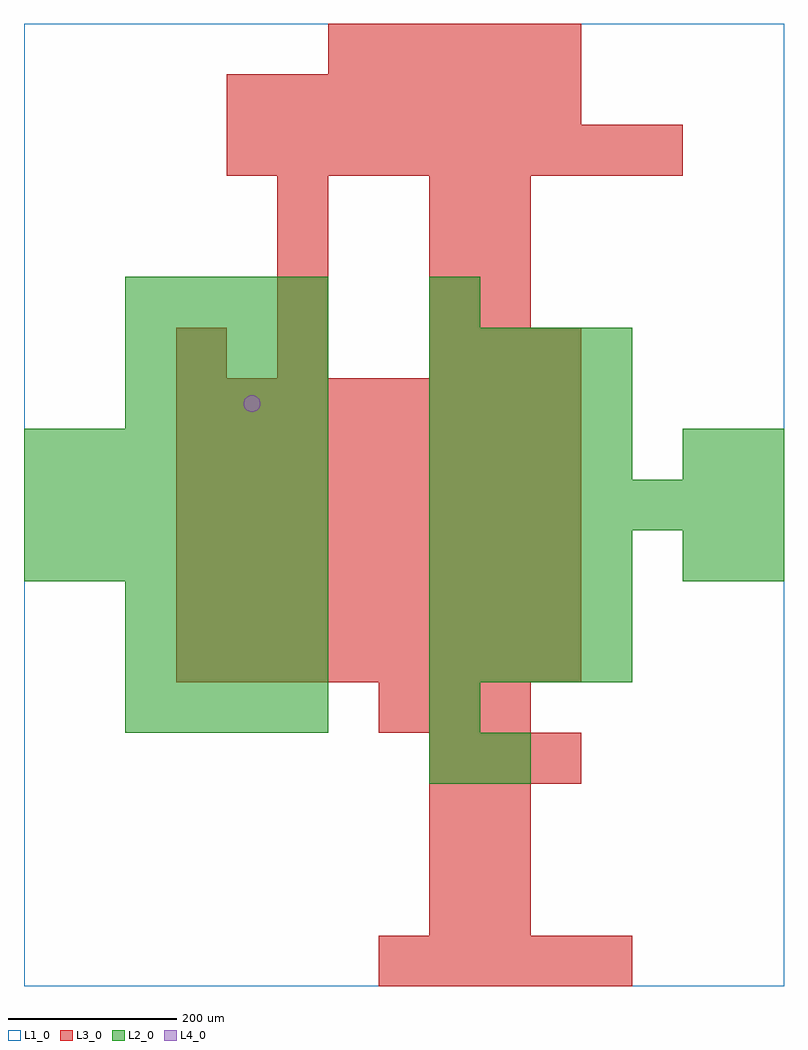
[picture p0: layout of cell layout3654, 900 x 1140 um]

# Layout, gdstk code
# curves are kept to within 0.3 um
import gdstk
lib = gdstk.Library(unit=1e-6, precision=1e-09)
def R(c, l, rs):  # rectangles x0, y0, x1, y1
    for r in rs: c.add(gdstk.rectangle(r[:2], r[2:], *l))
def A(c, l, x, y, w, h, nx, ny, dx, dy):  # array of equal rectangles
    R(c, l, [(x+i*dx, y+j*dy, x+i*dx+w, y+j*dy+h) for i in range(nx) for j in range(ny)])
def P(c, l, *ps):  # polygons
    for p in ps: c.add(gdstk.Polygon(p, *l))
L1_0 = (1, 0)
L2_0 = (2, 0)
L3_0 = (3, 0)
L4_0 = (4, 0)

layout3654 = lib.new_cell('layout3654')
R(layout3654, L1_0, [(0,0,900,1140)])
A(layout3654, L2_0, 120, 300, 60, 60, 4, 3, 60, 60)
A(layout3654, L2_0, 480, 360, 60, 60, 4, 3, 60, 60)
A(layout3654, L2_0, 0, 480, 60, 60, 6, 3, 60, 60)
A(layout3654, L2_0, 480, 540, 60, 60, 7, 1, 60, 0)
A(layout3654, L2_0, 480, 600, 60, 60, 4, 3, 60, 60)
A(layout3654, L2_0, 120, 660, 60, 60, 4, 3, 60, 60)
R(layout3654, L2_0, [(480,240,540,300), (540,240,600,300), (480,300,540,360), (780,480,840,540), (840,480,900,540), (780,600,840,660), (840,600,900,660), (480,780,540,840)])
A(layout3654, L3_0, 420, 0, 60, 60, 5, 1, 60, 0)
A(layout3654, L3_0, 480, 60, 60, 60, 1, 3, 0, 60)
A(layout3654, L3_0, 540, 60, 60, 60, 1, 3, 0, 60)
A(layout3654, L3_0, 480, 240, 60, 60, 3, 2, 60, 480)
A(layout3654, L3_0, 420, 300, 60, 60, 3, 1, 60, 0)
A(layout3654, L3_0, 180, 360, 60, 60, 8, 6, 60, 60)
A(layout3654, L3_0, 300, 720, 60, 60, 1, 4, 0, 60)
A(layout3654, L3_0, 480, 780, 60, 60, 1, 3, 0, 60)
A(layout3654, L3_0, 540, 780, 60, 60, 1, 3, 0, 60)
A(layout3654, L3_0, 240, 960, 60, 60, 9, 1, 60, 0)
A(layout3654, L3_0, 240, 1020, 60, 60, 7, 1, 60, 0)
A(layout3654, L3_0, 360, 1080, 60, 60, 5, 1, 60, 0)
R(layout3654, L3_0, [(180,720,240,780)])
P(layout3654, L4_0, [(280,690),(279.239,693.827),(277.071,697.071),(273.827,699.239),(270,700),(266.173,699.239),(262.929,697.071),(260.761,693.827),(260,690),(260.761,686.173),(262.929,682.929),(266.173,680.761),(270,680),(273.827,680.761),(277.071,682.929),(279.239,686.173)])

lib.write_gds('layout3654.gds')
